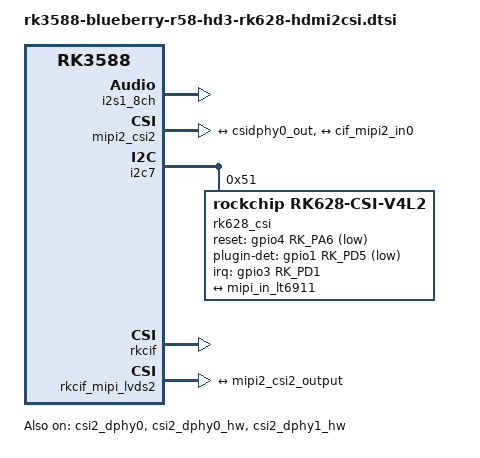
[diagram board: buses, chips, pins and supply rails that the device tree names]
// SPDX-License-Identifier: (GPL-2.0+ OR MIT)
/*
 * Copyright (c) 2024 Rockchip Electronics Co., Ltd.
 *
 */

/ {

	rk628_dc: rk628-dc {
		compatible = "rockchip,dummy-codec";
		#sound-dai-cells = <0>;
	};	

	rk628-sound {
		compatible = "simple-audio-card";
		simple-audio-card,format = "i2s";
		simple-audio-card,name = "rockchip,rk628";
		simple-audio-card,mclk-fs = <256>;
		simple-audio-card,bitclock-master = <&dailink2_master>;
		simple-audio-card,frame-master = <&dailink2_master>;
		status = "okay";
		simple-audio-card,cpu {
		sound-dai = <&i2s1_8ch>;
		};
		dailink2_master: simple-audio-card,codec {
		sound-dai = <&rk628_dc>;
		};
	};		
};

//rk628 sound
&i2s1_8ch {
	status = "okay";
	pinctrl-0 = <&i2s1m0_lrck
		     &i2s1m0_sclk
		     &i2s1m0_sdi0>;
};


&pinctrl {
	hdmiin {
		//mipicsi1_pwr: mipicsi1-pwr {
		//	rockchip,pins =
		//		/* 628H camera power en */
		//		<3 RK_PC5 RK_FUNC_GPIO &pcfg_pull_none>;
		//};
		rk628_hdmiin_pin: rk628-hdmiin-pin {
			rockchip,pins = 
					<3 RK_PD1 RK_FUNC_GPIO &pcfg_pull_none>,
					<4 RK_PA6 RK_FUNC_GPIO &pcfg_pull_none>,
					<1 RK_PD5 RK_FUNC_GPIO &pcfg_pull_none>;
		};
	};
};

/* rk628 hdmi in */
&mipi2_csi2 {
	status = "okay";

	ports {
		#address-cells = <1>;
		#size-cells = <0>;

		port@0 {
			reg = <0>;
			#address-cells = <1>;
			#size-cells = <0>;

			mipi2_csi2_input: endpoint@1 {
				reg = <1>;
				remote-endpoint = <&csidphy0_out>;
			};
		};

		port@1 {
			reg = <1>;
			#address-cells = <1>;
			#size-cells = <0>;

			mipi2_csi2_output: endpoint@0 {
				reg = <0>;
				remote-endpoint = <&cif_mipi2_in0>;
			};
		};
	};
};

&csi2_dphy0 {
	status = "okay";

	ports {
		#address-cells = <1>;
		#size-cells = <0>;
		port@0 {
			reg = <0>;
			#address-cells = <1>;
			#size-cells = <0>;

			mipi_in_lt6911: endpoint@1 {
				reg = <1>;
				remote-endpoint = <&lt6911_out>;
				data-lanes = <1 2 3 4>;
			};
		};
		port@1 {
			reg = <1>;
			#address-cells = <1>;
			#size-cells = <0>;

			csidphy0_out: endpoint@0 {
				reg = <0>;
				remote-endpoint = <&mipi2_csi2_input>;
			};
		};
	};
};

&csi2_dphy0_hw {
	status = "okay";
};

&csi2_dphy1_hw {
	status = "okay";
};


&i2c7 {
	pinctrl-names = "default";
	pinctrl-0 = <&i2c7m2_xfer>;
	status = "okay";

		rk628_csi: rk628_csi@51 {
		reg = <0x51>;
		compatible = "rockchip,rk628-csi-v4l2";
		status = "okay";	
		pinctrl-names = "default";
		pinctrl-0 = <&rk628_hdmiin_pin &refclk_pins>;
		power-domains = <&power RK3588_PD_VI>;
		interrupt-parent = <&gpio3>;
		interrupts = <RK_PD1 IRQ_TYPE_EDGE_RISING>;
		//enable-gpios = <&gpio3 RK_PC5 GPIO_ACTIVE_HIGH>;
		reset-gpios = <&gpio4 RK_PA6 GPIO_ACTIVE_LOW>;
		plugin-det-gpios = <&gpio1 RK_PD5 GPIO_ACTIVE_LOW>;
		continues-clk = <1>;

		rockchip,camera-module-index = <0>;
		rockchip,camera-module-facing = "back";
		rockchip,camera-module-name = "HDMI-MIPI1";
		rockchip,camera-module-lens-name = "RK628-CSI";

		multi-dev-info {
			dev-idx-l = <2>;
			dev-idx-r = <4>;
			combine-idx = <2>;
			pixel-offset = <0>;
			dev-num = <2>;
		};

		port {
			lt6911_out: endpoint {
				remote-endpoint = <&mipi_in_lt6911>;
				data-lanes = <1 2 3 4>;
			};
		};
	};

};

&rkcif {
	status = "okay";
};

&rkcif_mipi_lvds2 {
	status = "okay";

	port {
		cif_mipi2_in0: endpoint {
			remote-endpoint = <&mipi2_csi2_output>;
		};
	};
};

&rkcif_mmu {
	status = "okay";
};

/* rk628 hdmi in end */



